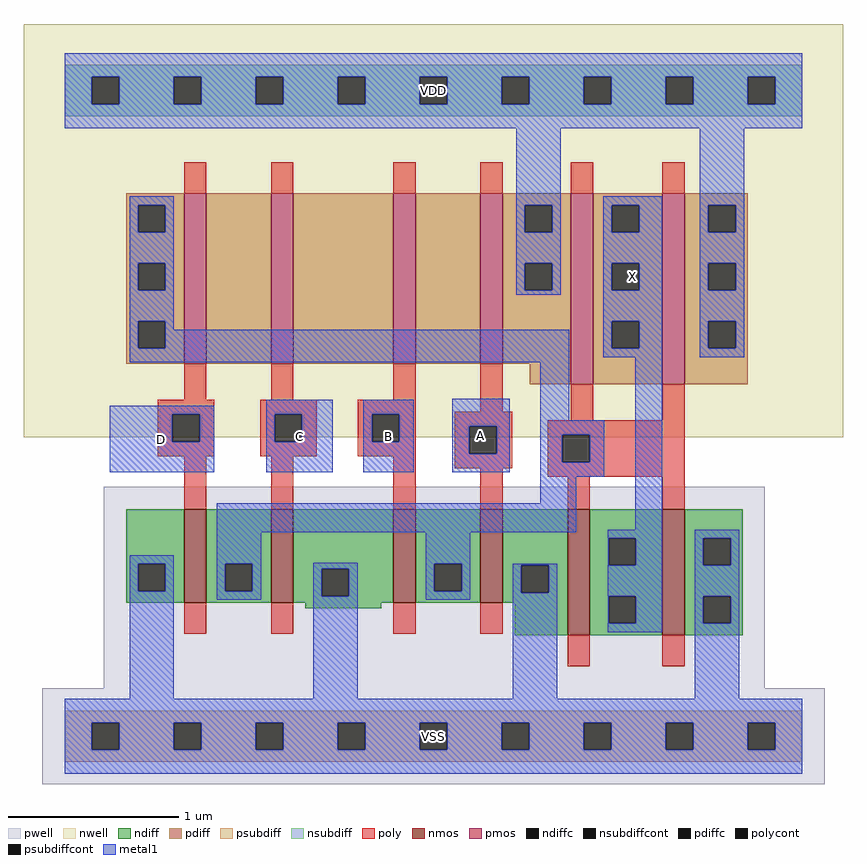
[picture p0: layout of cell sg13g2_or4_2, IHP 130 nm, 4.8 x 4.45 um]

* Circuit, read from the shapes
.subckt sg13g2_or4_2 X C D VDD VSS A B
XM1 n1 D VSS VSS sg13_lv_nmos w=0.55u l=0.13u
XM2 VSS C n1 VSS sg13_lv_nmos w=0.55u l=0.13u
XM3 n1 B VSS VSS sg13_lv_nmos w=0.55u l=0.13u
XM4 VSS A n1 VSS sg13_lv_nmos w=0.55u l=0.13u
XM5 X n1 VSS VSS sg13_lv_nmos w=0.74u l=0.13u m=2
XM6 n2 D n1 VDD sg13_lv_pmos w=1u l=0.13u
XM7 n3 C n2 VDD sg13_lv_pmos w=1u l=0.13u
XM8 n4 B n3 VDD sg13_lv_pmos w=1u l=0.13u
XM9 VDD A n4 VDD sg13_lv_pmos w=1u l=0.13u
XM10 X n1 VDD VDD sg13_lv_pmos w=1.12u l=0.13u m=2
.ends

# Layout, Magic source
magic
tech ihp-sg13g2
magscale 1 2
<< nwell >>
rect -48 350 912 834
<< pwell >>
rect 46 56 820 292
rect -26 -56 890 56
<< nmos >>
rect 140 156 166 266
rect 242 156 268 266
rect 385 156 411 266
rect 487 156 513 266
rect 589 118 615 266
rect 700 118 726 266
<< pmos >>
rect 140 436 166 636
rect 242 436 268 636
rect 385 436 411 636
rect 487 436 513 636
rect 593 412 619 636
rect 700 412 726 636
<< ndiff >>
rect 72 202 140 266
rect 72 170 86 202
rect 118 170 140 202
rect 72 156 140 170
rect 166 202 242 266
rect 166 170 188 202
rect 220 170 242 202
rect 166 156 242 170
rect 268 196 385 266
rect 268 164 301 196
rect 333 164 385 196
rect 268 156 385 164
rect 411 202 487 266
rect 411 170 433 202
rect 465 170 487 202
rect 411 156 487 170
rect 513 200 589 266
rect 513 168 535 200
rect 567 168 589 200
rect 513 156 589 168
rect 282 150 371 156
rect 527 118 589 156
rect 615 232 700 266
rect 615 200 637 232
rect 669 200 700 232
rect 615 164 700 200
rect 615 132 637 164
rect 669 132 700 164
rect 615 118 700 132
rect 726 232 794 266
rect 726 200 748 232
rect 780 200 794 232
rect 726 164 794 200
rect 726 132 748 164
rect 780 132 794 164
rect 726 118 794 132
<< pdiff >>
rect 72 622 140 636
rect 72 590 86 622
rect 118 590 140 622
rect 72 554 140 590
rect 72 522 86 554
rect 118 522 140 554
rect 72 486 140 522
rect 72 454 86 486
rect 118 454 140 486
rect 72 436 140 454
rect 166 436 242 636
rect 268 436 385 636
rect 411 436 487 636
rect 513 622 593 636
rect 513 590 539 622
rect 571 590 593 622
rect 513 554 593 590
rect 513 522 539 554
rect 571 522 593 554
rect 513 436 593 522
rect 545 412 593 436
rect 619 622 700 636
rect 619 590 641 622
rect 673 590 700 622
rect 619 554 700 590
rect 619 522 641 554
rect 673 522 700 554
rect 619 486 700 522
rect 619 454 641 486
rect 673 454 700 486
rect 619 412 700 454
rect 726 622 800 636
rect 726 590 754 622
rect 786 590 800 622
rect 726 554 800 590
rect 726 522 754 554
rect 786 522 800 554
rect 726 486 800 522
rect 726 454 754 486
rect 786 454 800 486
rect 726 412 800 454
<< ndiffc >>
rect 86 170 118 202
rect 188 170 220 202
rect 301 164 333 196
rect 433 170 465 202
rect 535 168 567 200
rect 637 200 669 232
rect 637 132 669 164
rect 748 200 780 232
rect 748 132 780 164
<< pdiffc >>
rect 86 590 118 622
rect 86 522 118 554
rect 86 454 118 486
rect 539 590 571 622
rect 539 522 571 554
rect 641 590 673 622
rect 641 522 673 554
rect 641 454 673 486
rect 754 590 786 622
rect 754 522 786 554
rect 754 454 786 486
<< psubdiff >>
rect 0 16 864 30
rect 0 -16 32 16
rect 64 -16 128 16
rect 160 -16 224 16
rect 256 -16 320 16
rect 352 -16 416 16
rect 448 -16 512 16
rect 544 -16 608 16
rect 640 -16 704 16
rect 736 -16 800 16
rect 832 -16 864 16
rect 0 -30 864 -16
<< nsubdiff >>
rect 0 772 864 786
rect 0 740 32 772
rect 64 740 128 772
rect 160 740 224 772
rect 256 740 320 772
rect 352 740 416 772
rect 448 740 512 772
rect 544 740 608 772
rect 640 740 704 772
rect 736 740 800 772
rect 832 740 864 772
rect 0 726 864 740
<< psubdiffcont >>
rect 32 -16 64 16
rect 128 -16 160 16
rect 224 -16 256 16
rect 320 -16 352 16
rect 416 -16 448 16
rect 512 -16 544 16
rect 608 -16 640 16
rect 704 -16 736 16
rect 800 -16 832 16
<< nsubdiffcont >>
rect 32 740 64 772
rect 128 740 160 772
rect 224 740 256 772
rect 320 740 352 772
rect 416 740 448 772
rect 512 740 544 772
rect 608 740 640 772
rect 704 740 736 772
rect 800 740 832 772
<< poly >>
rect 140 636 166 672
rect 242 636 268 672
rect 385 636 411 672
rect 487 636 513 672
rect 593 636 619 672
rect 700 636 726 672
rect 140 394 166 436
rect 242 394 268 436
rect 385 394 411 436
rect 109 377 175 394
rect 109 345 126 377
rect 158 345 175 377
rect 109 328 175 345
rect 229 377 295 394
rect 229 345 246 377
rect 278 345 295 377
rect 229 328 295 345
rect 343 377 411 394
rect 487 380 513 436
rect 343 345 360 377
rect 392 345 411 377
rect 343 328 411 345
rect 140 266 166 328
rect 242 266 268 328
rect 385 266 411 328
rect 457 363 524 380
rect 593 370 619 412
rect 700 370 726 412
rect 457 331 474 363
rect 506 331 524 363
rect 457 314 524 331
rect 566 353 726 370
rect 566 321 583 353
rect 615 321 726 353
rect 487 266 513 314
rect 566 304 726 321
rect 589 266 615 304
rect 700 266 726 304
rect 140 120 166 156
rect 242 120 268 156
rect 385 120 411 156
rect 487 120 513 156
rect 589 82 615 118
rect 700 82 726 118
<< polycont >>
rect 126 345 158 377
rect 246 345 278 377
rect 360 345 392 377
rect 474 331 506 363
rect 583 321 615 353
<< metal1 >>
rect 0 772 864 800
rect 0 740 32 772
rect 64 740 128 772
rect 160 740 224 772
rect 256 740 320 772
rect 352 740 416 772
rect 448 740 512 772
rect 544 740 608 772
rect 640 740 704 772
rect 736 740 800 772
rect 832 740 864 772
rect 0 712 864 740
rect 76 622 128 632
rect 76 590 86 622
rect 118 590 128 622
rect 76 554 128 590
rect 76 522 86 554
rect 118 522 128 554
rect 76 486 128 522
rect 529 622 581 712
rect 529 590 539 622
rect 571 590 581 622
rect 529 554 581 590
rect 529 522 539 554
rect 571 522 581 554
rect 529 517 581 522
rect 631 622 700 632
rect 631 590 641 622
rect 673 590 700 622
rect 631 554 700 590
rect 631 522 641 554
rect 673 522 700 554
rect 76 454 86 486
rect 118 476 128 486
rect 631 486 700 522
rect 118 454 591 476
rect 76 438 591 454
rect 631 454 641 486
rect 673 454 700 486
rect 631 444 700 454
rect 744 622 796 712
rect 744 590 754 622
rect 786 590 796 622
rect 744 554 796 590
rect 744 522 754 554
rect 786 522 796 554
rect 744 486 796 522
rect 744 454 754 486
rect 786 454 796 486
rect 744 444 796 454
rect 53 377 175 387
rect 53 345 126 377
rect 158 345 175 377
rect 53 309 175 345
rect 236 377 314 394
rect 236 345 246 377
rect 278 345 314 377
rect 236 309 314 345
rect 350 377 409 394
rect 350 345 360 377
rect 392 345 409 377
rect 350 309 409 345
rect 454 363 521 395
rect 454 331 474 363
rect 506 331 521 363
rect 454 309 521 331
rect 557 370 591 438
rect 557 353 632 370
rect 557 321 583 353
rect 615 321 632 353
rect 557 304 632 321
rect 557 273 599 304
rect 178 239 599 273
rect 668 242 700 444
rect 76 202 128 212
rect 76 170 86 202
rect 118 170 128 202
rect 76 44 128 170
rect 178 202 230 239
rect 178 170 188 202
rect 220 170 230 202
rect 178 160 230 170
rect 291 196 343 203
rect 291 164 301 196
rect 333 164 343 196
rect 291 44 343 164
rect 423 202 475 239
rect 636 232 700 242
rect 423 170 433 202
rect 465 170 475 202
rect 423 160 475 170
rect 525 200 577 202
rect 525 168 535 200
rect 567 168 577 200
rect 525 44 577 168
rect 636 200 637 232
rect 669 200 700 232
rect 636 164 700 200
rect 636 132 637 164
rect 669 132 700 164
rect 636 122 700 132
rect 738 232 790 242
rect 738 200 748 232
rect 780 200 790 232
rect 738 164 790 200
rect 738 132 748 164
rect 780 132 790 164
rect 738 44 790 132
rect 0 16 864 44
rect 0 -16 32 16
rect 64 -16 128 16
rect 160 -16 224 16
rect 256 -16 320 16
rect 352 -16 416 16
rect 448 -16 512 16
rect 544 -16 608 16
rect 640 -16 704 16
rect 736 -16 800 16
rect 832 -16 864 16
rect 0 -44 864 -16
<< labels >>
flabel metal1 s 631 444 700 632 0 FreeSans 400 0 0 0 X
port 2 nsew
flabel metal1 s 236 309 314 394 0 FreeSans 400 0 0 0 C
port 3 nsew
flabel metal1 s 53 309 175 387 0 FreeSans 400 0 0 0 D
port 4 nsew
flabel metal1 s 0 712 864 800 0 FreeSans 400 0 0 0 VDD
port 5 nsew
flabel metal1 s 0 -44 864 44 0 FreeSans 400 0 0 0 VSS
port 6 nsew
flabel metal1 s 454 309 521 395 0 FreeSans 400 0 0 0 A
port 7 nsew
flabel metal1 s 350 309 409 394 0 FreeSans 400 0 0 0 B
port 8 nsew
<< properties >>
string FIXED_BBOX 0 0 864 756
<< end >>
